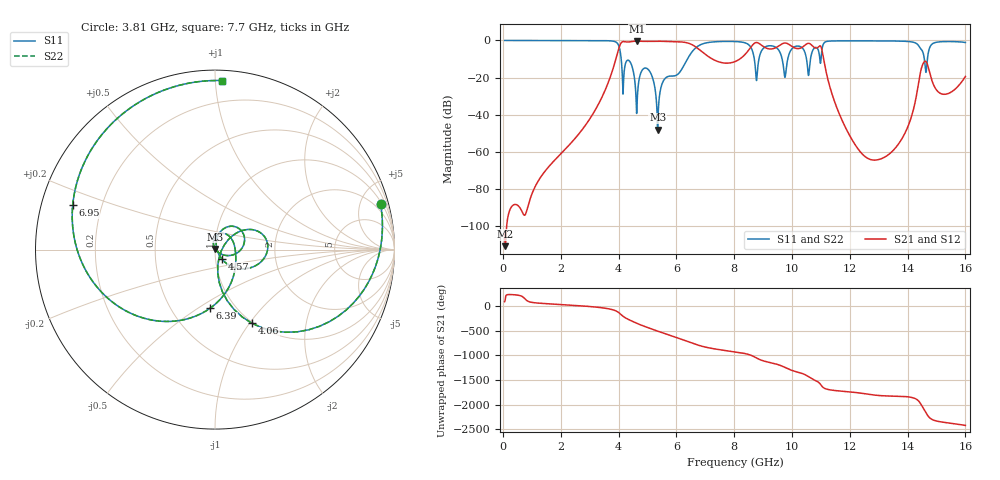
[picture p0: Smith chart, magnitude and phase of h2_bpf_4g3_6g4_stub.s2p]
! kicad2ems mom25d 2.5D MoM (f)
! ports: 1=P1, 2=P2
# Hz S RI R 50
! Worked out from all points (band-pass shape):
!   1596 points, 50 MHz to 16 GHz, reference 50 ohm
!   highest |S21| = -0.37 dB at 4.63 GHz (marker M1); lowest = -110.7 dB at 80 MHz (marker M2)
!   |S21| within 3 dB of the highest: 4.023 GHz to 6.655 GHz (2.631 GHz wide, 49.3 % of centre); 9.499 GHz to 10.01 GHz (511.4 MHz wide, 5.24 % of centre)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
!   lowest |S11| = -48.1 dB at 5.35 GHz (marker M3), VSWR 1.01, Z = 50.2 + j0.35 ohm
!   |S11| at or under -10 dB: 4.086 GHz to 6.378 GHz (2.292 GHz wide, 43.8 % of centre); 8.693 GHz to 8.853 GHz (160.2 MHz wide, 1.83 % of centre); 9.656 GHz to 9.85 GHz (194 MHz wide, 1.99 % of centre)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
!   |S22| runs from -48.2 to 0.0 dB; largest |S21 - S12| = 1e-06
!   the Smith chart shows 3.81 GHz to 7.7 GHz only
!   S11 on the Smith chart (normalised r, x): 3.81 GHz: 1.19, +7.19; 4.06 GHz: 0.99, -1.03; 4.57 GHz: 1.07, -0.11; 6.39 GHz: 0.77, -0.56; 6.95 GHz: 0.09, +0.15; 7.7 GHz: 0.06, +1.04
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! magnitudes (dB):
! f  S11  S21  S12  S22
! 50 MHz  0.0  -103.1  -103.1  0.0
! 80 MHz  0.0  -110.7  -110.7  0.0
! 2.71 GHz  0.0  -48.5  -48.5  0.0
! 3.81 GHz  -0.4  -14.9  -14.9  -0.4
! 4.06 GHz  -6.8  -1.9  -1.9  -6.8
! 4.57 GHz  -23.8  -0.4  -0.4  -23.8
! 4.63 GHz  -36.5  -0.4  -0.4  -36.5
! 4.99 GHz  -15.2  -0.5  -0.5  -15.2
! 5.35 GHz  -48.1  -0.4  -0.4  -48.2
! 5.37 GHz  -37.9  -0.4  -0.4  -37.9
! 6.39 GHz  -9.7  -1.4  -1.4  -9.7
! 6.95 GHz  -1.6  -6.9  -6.9  -1.6
! 7.7 GHz  -0.5  -12.2  -12.2  -0.5
! 8.03 GHz  -0.6  -11.3  -11.3  -0.6
! 8.77 GHz  -21.6  -1.1  -1.1  -21.6
! 10.69 GHz  -6.4  -2.7  -2.7  -6.4
! 12.25 GHz  -0.2  -57.7  -57.7  -0.2
! 13.35 GHz  -0.3  -61.3  -61.3  -0.3
! 14.03 GHz  -0.6  -45.6  -45.6  -0.6
! 14.57 GHz  -9.1  -11.6  -11.6  -9.1
! 15.17 GHz  -0.7  -28.7  -28.7  -0.7
! 16 GHz  -1.1  -19.4  -19.4  -1.1
